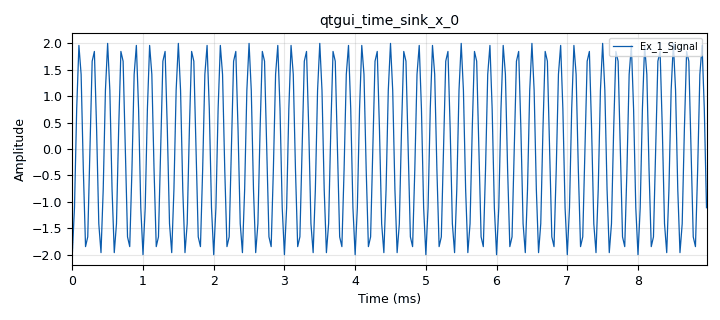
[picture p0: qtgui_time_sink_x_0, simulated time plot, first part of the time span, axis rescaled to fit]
options:
  parameters:
    author: zoe
    generate_options: qt_gui
    id: lab0_1
    output_language: python
    title: Not titled yet
  states: {}

blocks:
- name: samp_rate
  id: variable
  parameters:
    value: '32000'
  states: {}
- name: analog_sig_source_x_0_0_1
  id: analog_sig_source_x
  parameters:
    amp: '2'
    freq: '5000'
    offset: '0'
    phase: '3.14159265359'
    samp_rate: samp_rate
    type: float
    waveform: analog.GR_COS_WAVE
  states: {}
- name: blocks_throttle_0
  id: blocks_throttle
  parameters:
    samples_per_second: samp_rate
    type: float
  states: {}
- name: qtgui_time_sink_x_0
  id: qtgui_time_sink_x
  parameters:
    color1: magenta
    label1: Ex_1_Signal
    size: '1024'
    srate: samp_rate
    type: float
  states: {}

connections:
- [analog_sig_source_x_0_0_1, '0', blocks_throttle_0, '0']
- [blocks_throttle_0, '0', qtgui_time_sink_x_0, '0']

metadata:
  file_format: 1
  grc_version: 3.10.5.1
